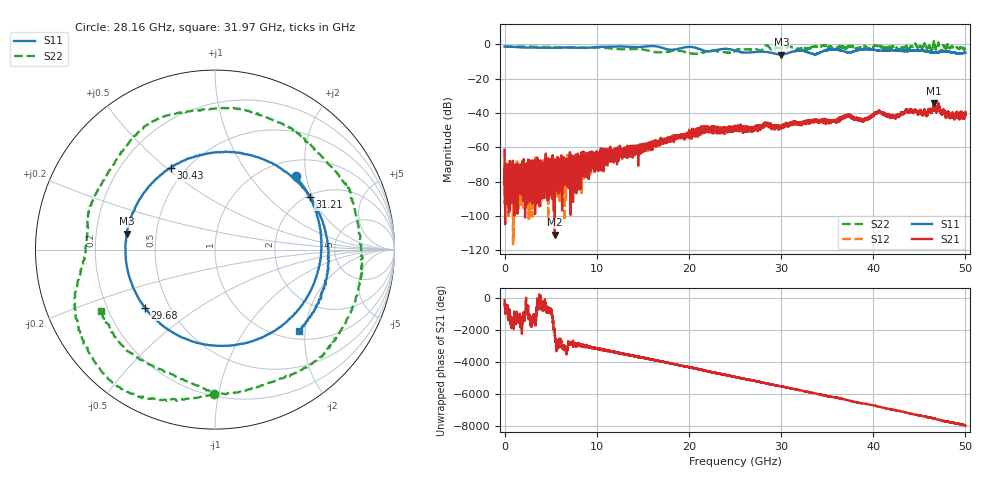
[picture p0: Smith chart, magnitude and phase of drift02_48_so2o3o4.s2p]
!Created with skrf (http://scikit-rf.org).
# Hz S RI R 50.0
!freq ReS11 ImS11 ReS21 ImS21 ReS12 ImS12 ReS22 ImS22
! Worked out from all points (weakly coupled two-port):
!   10001 points, 300 kHz to 50 GHz, reference 50 ohm
!   highest |S21| = -34.20 dB at 46.61 GHz (marker M1); lowest = -110.9 dB at 5.445 GHz (marker M2)
!   lowest |S11| = -6.1 dB at 30.05 GHz (marker M3), VSWR 2.97, Z = 16.9 + j3.97 ohm
!   |S11| at or under -10 dB: nowhere
!   |S22| runs from -5.7 to 2.2 dB; largest |S21 - S12| = 0.0035
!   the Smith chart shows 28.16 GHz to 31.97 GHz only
!   S11 on the Smith chart (normalised r, x): 28.16 GHz: 1.35, +1.74; 29.68 GHz: 0.37, -0.32; 30.43 GHz: 0.41, +0.52; 31.21 GHz: 2.05, +1.90; 31.97 GHz: 1.17, -1.86
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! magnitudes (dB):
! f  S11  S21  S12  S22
! 300 kHz  -1.3  -61.4  -61.4  -2.1
! 255.3 MHz  -1.4  -85.3  -73.2  -1.4
! 580.3 MHz  -1.4  -80.4  -87.1  -1.5
! 5.445 GHz  -2.1  -110.9  -86.5  -1.7
! 8.335 GHz  -2.2  -67.9  -64.9  -1.9
! 16.67 GHz  -1.5  -57.6  -58.0  -4.7
! 21.61 GHz  -3.7  -50.5  -49.8  -4.7
! 25 GHz  -3.7  -49.7  -48.9  -3.9
! 28.16 GHz  -4.3  -46.1  -47.3  -1.9
! 29.68 GHz  -5.9  -48.6  -48.7  -2.1
! 30.05 GHz  -6.1  -47.6  -48.1  -2.0
! 30.43 GHz  -5.7  -47.2  -47.3  -1.8
! 31.21 GHz  -4.4  -45.8  -46.4  -1.7
! 31.97 GHz  -3.7  -45.5  -46.1  -2.9
! 33.34 GHz  -5.5  -45.0  -44.9  -1.6
! 37.28 GHz  -4.7  -41.2  -41.3  -1.3
! 38.84 GHz  -3.0  -44.2  -44.1  -1.2
! 40.58 GHz  -3.6  -39.0  -39.4  -1.0
! 41.67 GHz  -3.7  -41.0  -41.0  -1.9
! 46.61 GHz  -4.7  -34.2  -35.1  1.9
! 48.11 GHz  -4.3  -38.9  -39.7  -0.4
! 50 GHz  -4.9  -40.4  -41.1  -2.7
